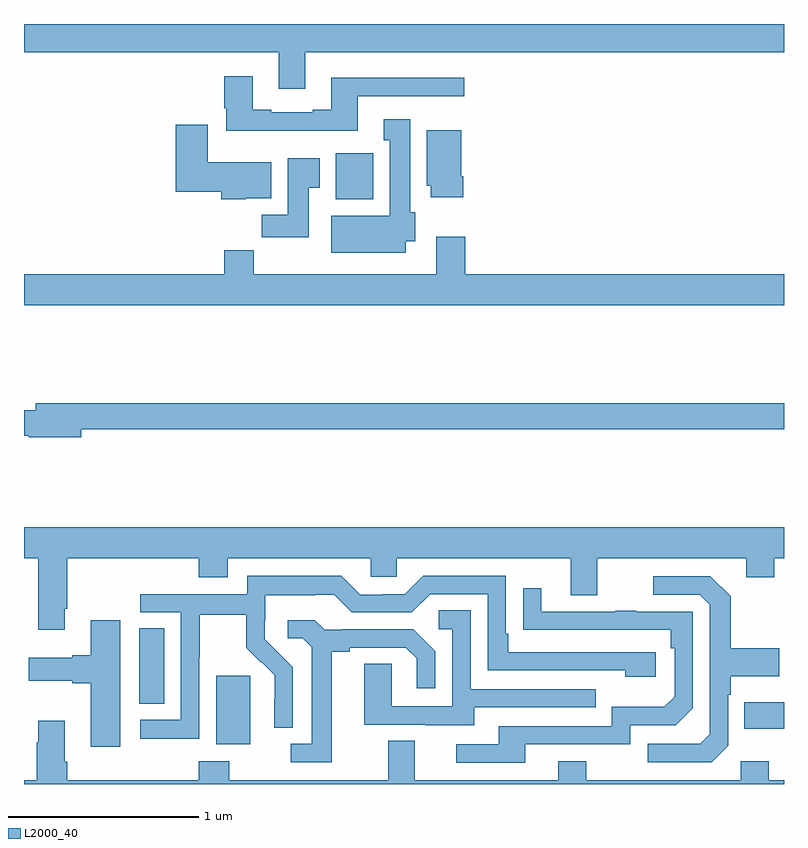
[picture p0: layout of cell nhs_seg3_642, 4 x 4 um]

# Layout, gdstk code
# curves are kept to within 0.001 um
import gdstk
lib = gdstk.Library(unit=1e-6, precision=1e-09)
def R(c, l, rs):  # rectangles x0, y0, x1, y1
    for r in rs: c.add(gdstk.rectangle(r[:2], r[2:], *l))
def P(c, l, *ps):  # polygons
    for p in ps: c.add(gdstk.Polygon(p, *l))
L2000_40 = (2000, 40)

nhs_seg3_642 = lib.new_cell('nhs_seg3_642')
R(nhs_seg3_642, L2000_40, [(144.011,694.61,144.19,694.971), (146.791,694.691,147,694.831), (143.606,694.822,143.737,695.219), (144.641,697.478,144.838,697.72)])
P(nhs_seg3_642, L2000_40, [(144.481,698.252),(147,698.252),(147,698.4),(143,698.4),(143,698.252),(144.341,698.252),(144.341,698.058),(144.481,698.058)],
  [(144.757,698.019),(145.318,698.019),(145.318,698.116),(144.617,698.116),(144.617,697.948),(144.521,697.948),(144.521,697.935),(144.301,697.935),(144.301,697.948),(144.205,697.948),(144.205,698.125),(144.053,698.125),(144.053,697.957),(144.065,697.957),(144.065,697.838),(144.757,697.838)],
  [(145.009,697.256),(145.06,697.256),(145.06,697.41),(145.033,697.41),(145.033,697.9),(144.893,697.9),(144.893,697.787),(144.926,697.787),(144.926,697.39),(144.617,697.39),(144.617,697.196),(145.009,697.196)],
  [(144.168,697.484),(144.301,697.484),(144.301,697.672),(143.968,697.672),(143.968,697.87),(143.798,697.87),(143.798,697.517),(144.038,697.517),(144.038,697.478),(144.168,697.478)],
  [(145.313,697.6),(145.3,697.6),(145.3,697.84),(145.121,697.84),(145.121,697.548),(145.142,697.548),(145.142,697.488),(145.313,697.488)],
  [(144.499,697.537),(144.556,697.537),(144.556,697.693),(144.389,697.693),(144.389,697.396),(144.25,697.396),(144.25,697.278),(144.499,697.278)],
  [(147,697.084),(145.322,697.084),(145.322,697.279),(145.169,697.279),(145.169,697.084),(144.209,697.084),(144.209,697.208),(144.053,697.208),(144.053,697.084),(143,697.084),(143,696.92),(147,696.92)],
  [(143.302,696.268),(147,696.268),(147,696.404),(143.063,696.404),(143.063,696.368),(143,696.368),(143,696.234),(143.026,696.234),(143.026,696.226),(143.302,696.226)],
  [(143.215,695.323),(143.228,695.323),(143.228,695.588),(143.921,695.588),(143.921,695.489),(144.073,695.489),(144.073,695.588),(144.825,695.588),(144.825,695.49),(144.963,695.49),(144.963,695.588),(145.877,695.588),(145.877,695.394),(146.017,695.394),(146.017,695.588),(146.801,695.588),(146.801,695.489),(146.949,695.489),(146.949,695.588),(147,695.588),(147,695.752),(143,695.752),(143,695.588),(143.075,695.588),(143.075,695.211),(143.215,695.211)],
  [(143.922,695.068),(143.925,695.068),(143.925,695.292),(144.169,695.292),(144.169,695.117),(144.246,695.04),(144.249,695.043),(144.32,694.973),(144.32,694.85),(144.318,694.85),(144.318,694.696),(144.414,694.696),(144.414,695.014),(144.268,695.162),(144.268,695.259),(144.27,695.259),(144.27,695.393),(144.533,695.393),(144.533,695.397),(144.633,695.397),(144.726,695.304),(145.041,695.304),(145.137,695.4),(145.44,695.4),(145.44,694.998),(146.165,694.998),(146.165,694.964),(146.326,694.964),(146.326,695.094),(145.549,695.094),(145.549,695.191),(145.536,695.191),(145.536,695.496),(145.101,695.496),(145.005,695.4),(144.887,695.4),(144.887,695.397),(144.771,695.397),(144.671,695.497),(144.174,695.497),(144.174,695.4),(143.613,695.4),(143.613,695.304),(143.826,695.304),(143.826,694.737),(143.613,694.737),(143.613,694.639),(143.922,694.639)],
  [(146.706,694.602),(146.706,694.871),(146.719,694.871),(146.719,694.967),(146.975,694.967),(146.975,695.115),(146.719,695.115),(146.719,695.387),(146.613,695.493),(146.313,695.493),(146.313,695.397),(146.556,695.397),(146.61,695.343),(146.61,694.662),(146.559,694.611),(146.283,694.611),(146.283,694.515),(146.619,694.515)],
  [(145.639,694.608),(146.19,694.608),(146.19,694.71),(146.43,694.71),(146.52,694.8),(146.52,695.307),(146.225,695.307),(146.225,695.312),(146.113,695.312),(146.113,695.307),(145.723,695.307),(145.723,695.431),(145.627,695.431),(145.627,695.212),(146.404,695.211),(146.404,695.114),(146.424,695.114),(146.424,694.86),(146.371,694.807),(146.094,694.807),(146.094,694.704),(145.499,694.704),(145.499,694.608),(145.275,694.608),(145.275,694.512),(145.639,694.512)],
  [(145.369,694.803),(146.009,694.803),(146.009,694.899),(145.35,694.899),(145.35,695.315),(145.182,695.315),(145.182,695.214),(145.254,695.214),(145.254,694.809),(144.936,694.809),(144.936,695.033),(144.791,695.033),(144.791,694.713),(145.115,694.713),(145.115,694.709),(145.369,694.709)],
  [(144.619,695.096),(144.715,695.096),(144.715,695.118),(145.01,695.118),(145.067,695.061),(145.067,694.905),(145.164,694.905),(145.164,695.098),(145.048,695.214),(144.676,695.214),(144.676,695.211),(144.582,695.211),(144.53,695.263),(144.387,695.263),(144.387,695.166),(144.468,695.166),(144.515,695.119),(144.515,694.611),(144.405,694.611),(144.405,694.515),(144.619,694.515)],
  [(143.506,695.263),(143.351,695.263),(143.351,695.078),(143.255,695.078),(143.255,695.065),(143.025,695.065),(143.025,694.943),(143.255,694.943),(143.255,694.931),(143.351,694.931),(143.351,694.596),(143.506,694.596)],
  [(145.811,694.42),(145.057,694.42),(145.057,694.628),(144.917,694.628),(144.917,694.42),(144.081,694.42),(144.081,694.519),(143.921,694.519),(143.921,694.42),(143.228,694.42),(143.228,694.516),(143.215,694.516),(143.215,694.732),(143.075,694.732),(143.075,694.619),(143.068,694.619),(143.068,694.42),(143,694.42),(143,694.4),(147,694.4),(147,694.42),(146.919,694.42),(146.919,694.519),(146.772,694.519),(146.772,694.42),(145.959,694.42),(145.959,694.519),(145.811,694.519)])

lib.write_gds('nhs_seg3_642.gds')
